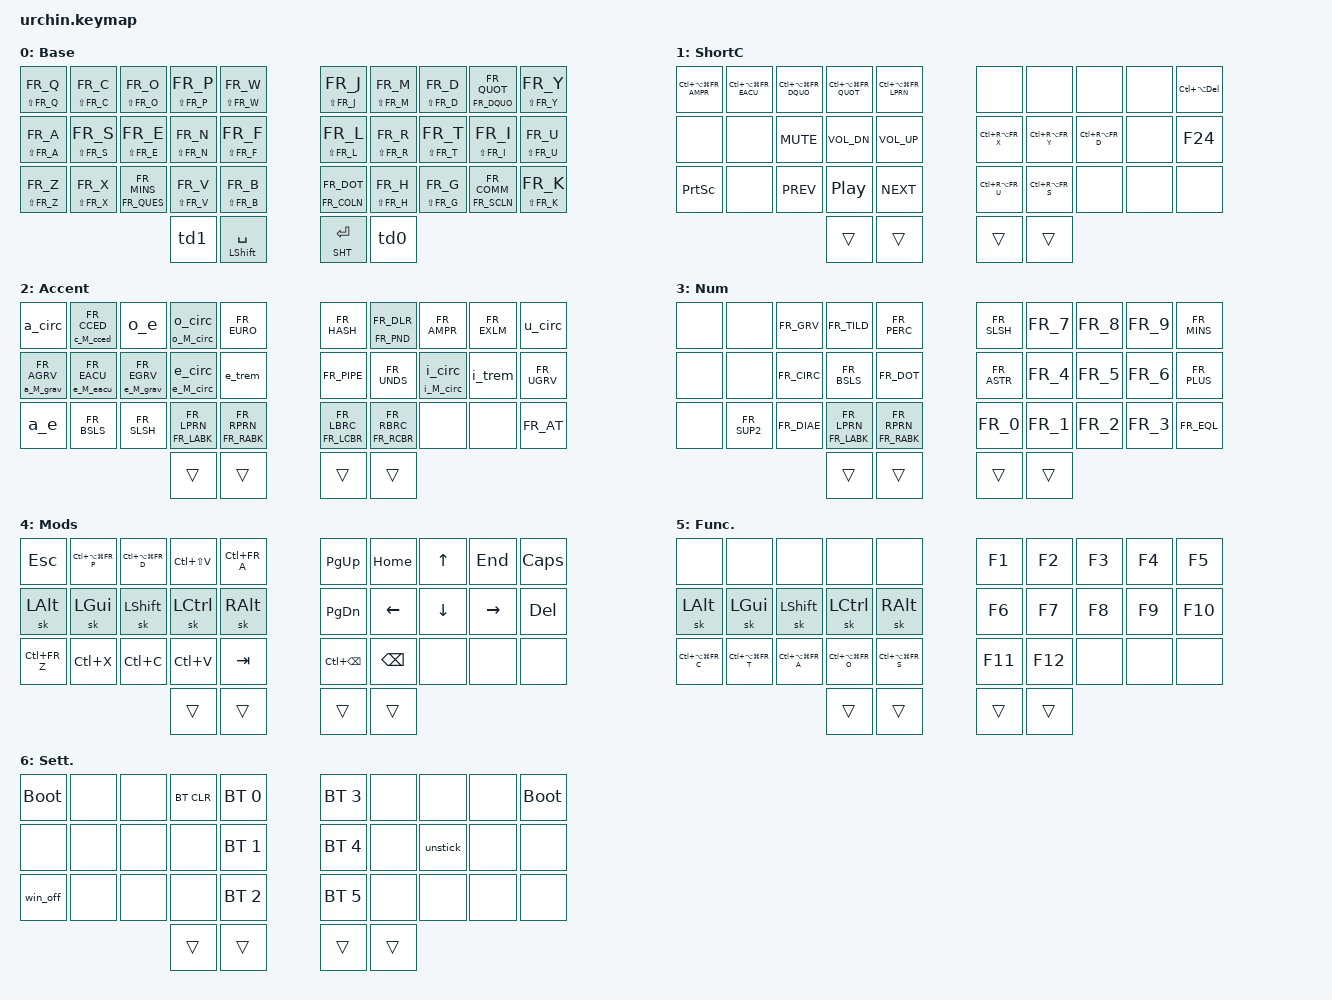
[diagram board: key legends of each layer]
/*
 * Copyright (c) 2020 duckyb
 *
 * SPDX-License-Identifier: MIT
 */

#include <behaviors.dtsi>
#include <dt-bindings/zmk/keys.h>
#include <dt-bindings/zmk/bt.h>
#include <dt-bindings/zmk/outputs.h>
#include "keymap_french.h"


// Layer definitions
#define BASE 0
#define SHT 1
#define ACCENT 2
#define NUM 3
#define EXT 4
#define FNC 5
#define SETTINGS 6
// -----------------

	
&sk {
	// don't release mods on other mods presses
	ignore-modifiers;
};


/ {
	behaviors {

		// Enables switching between layers Accent and Numbers
		// by performing a tap-dance sequence.
		td0: tap_dance_0 {
            compatible = "zmk,behavior-tap-dance";
            #binding-cells = <0>;
            tapping-term-ms = <350>;
            bindings = <&sl ACCENT>, <&sl NUM>;
        };

		// Enables switching between layers EXT and Function
		// by performing a tap-dance sequence.
		td1: tap_dance_1 {
            compatible = "zmk,behavior-tap-dance";
            #binding-cells = <0>;
            tapping-term-ms = <500>;
            bindings = <&sl EXT>, <&sl FNC>;
        };


		// Enables holding the first mod-tap key
		// by performing a tap-release-hold sequence.
		// To use it: "&qt KEYCODE1 KEYCODE2"
		qt: quick_tap {
			compatible = "zmk,behavior-hold-tap";
			#binding-cells = <2>;
			flavor = "tap-preferred";
			tapping-term-ms = <200>;
			quick-tap-ms = <200>;
			bindings = <&kp>, <&kp>;
		};


		// Majuscules accentuées

		// Hold tap on accents to Maj
		aMgrav: aMgrav { 
            compatible = "zmk,behavior-hold-tap"; 
            #binding-cells = <2>; 
            tapping-term-ms = <350>; 
            flavor = "tap-preferred"; 
            quick-tap-ms = <200>; 
            bindings = <&a_M_grav> , <&kp>;
        };
		iMcirc: iMcirc { 
            compatible = "zmk,behavior-hold-tap"; 
            #binding-cells = <2>; 
            tapping-term-ms = <350>; 
            flavor = "tap-preferred"; 
            quick-tap-ms = <200>; 
            bindings = <&i_M_circ> , <&i_circ>;
        };
		oMcirc: oMcirc { 
            compatible = "zmk,behavior-hold-tap"; 
            #binding-cells = <2>; 
            tapping-term-ms = <350>; 
            flavor = "tap-preferred"; 
            quick-tap-ms = <200>; 
            bindings = <&o_M_circ> , <&o_circ>;
        };
		eMcirc: eMcirc { 
            compatible = "zmk,behavior-hold-tap"; 
            #binding-cells = <2>; 
            tapping-term-ms = <350>; 
            flavor = "tap-preferred"; 
            quick-tap-ms = <200>; 
            bindings = <&e_M_circ> , <&e_circ>;
        };
		eMeacu: eMeacu { 
            compatible = "zmk,behavior-hold-tap"; 
            #binding-cells = <2>; 
            tapping-term-ms = <350>; 
            flavor = "tap-preferred"; 
            quick-tap-ms = <200>; 
            bindings =<&e_M_eacu> , <&kp>;
        };
		eMgrav: eMgrav { 
            compatible = "zmk,behavior-hold-tap"; 
            #binding-cells = <2>; 
            tapping-term-ms = <350>; 
            flavor = "tap-preferred"; 
            quick-tap-ms = <200>; 
            bindings = <&e_M_grav> , <&kp>;
        };
		cMcced: cMcced { 
            compatible = "zmk,behavior-hold-tap"; 
            #binding-cells = <2>; 
            tapping-term-ms = <350>; 
            flavor = "tap-preferred"; 
            quick-tap-ms = <200>; 
            bindings = <&c_M_cced> , <&kp>;
        };
	};

	macros {
		// Turn off Windows
		win_off: win_off {
            compatible = "zmk,behavior-macro";
            #binding-cells = <0>;
            wait-ms = <40>;
            tap-ms = <40>;
            bindings
                = <&macro_press   &kp LWIN>
                , <&macro_tap     &kp FR_X>
                , <&macro_release &kp LWIN>
                , <&macro_tap     &kp FR_U &kp FR_U>
                ;
        };
		// sometimes my device thinks a modifier is being held down
		// pressing all modifiers fixes it.
		unstick: unstick {
			compatible = "zmk,behavior-macro";
			#binding-cells = <0>;
			bindings = <&kp LSHIFT &kp RSHIFT &kp LCTRL &kp RCTRL &kp LALT &kp RALT &kp LGUI &kp RGUI>;
		};

		// Accents macro


		
		a_circ: a_circ {
			compatible = "zmk,behavior-macro";
			#binding-cells = <0>;
			wait-ms = <40>;
			tap-ms = <40>;
			bindings
    		= <&macro_tap     &kp FR_CIRC &kp FR_A>
    		;
		};
		e_circ: e_circ {
			compatible = "zmk,behavior-macro";
			#binding-cells = <0>;
			wait-ms = <40>;
			tap-ms = <40>;
			bindings
    		= <&macro_tap     &kp FR_CIRC &kp FR_E>
    		;																	
		};
		e_M_circ: e_M_circ {
			compatible = "zmk,behavior-macro";
			#binding-cells = <0>;
			wait-ms = <40>;
			tap-ms = <40>;
			bindings
    		= <&macro_tap     &kp FR_CIRC &kp LS(FR_E)>
    		;																	
		};
		e_M_grav: e_M_grav {
			compatible = "zmk,behavior-macro";
			#binding-cells = <0>;
			wait-ms = <40>;
			tap-ms = <40>;
			bindings
    		= <&macro_tap     &kp FR_GRV &kp LS(FR_E)>
    		;
		};
		e_trem: e_trem {
			compatible = "zmk,behavior-macro";
			#binding-cells = <0>;
			wait-ms = <40>;
			tap-ms = <40>;
			bindings
    		= <&macro_tap     &kp FR_DIAE &kp FR_E>
    		;
		};
		u_circ: u_circ {
			compatible = "zmk,behavior-macro";
			#binding-cells = <0>;
			wait-ms = <40>;
			tap-ms = <40>;
			bindings
    		= <&macro_tap     &kp FR_CIRC &kp FR_U>
    		;
		};
		i_circ: i_circ {
			compatible = "zmk,behavior-macro";
			#binding-cells = <0>;
			wait-ms = <40>;
			tap-ms = <40>;
			bindings
    		= <&macro_tap     &kp FR_CIRC &kp FR_I>
    		;
		};
		i_M_circ: i_M_circ {
			compatible = "zmk,behavior-macro";
			#binding-cells = <0>;
			wait-ms = <40>;
			tap-ms = <40>;
			bindings
    		= <&macro_tap     &kp FR_CIRC &kp LS(FR_I)>
    		;
		};
		i_trem: i_trem {
			compatible = "zmk,behavior-macro";
			#binding-cells = <0>;
			wait-ms = <40>;
			tap-ms = <40>;
			bindings
    		= <&macro_tap     &kp FR_DIAE &kp FR_I>
    		;
		};
		o_circ: o_circ {
			compatible = "zmk,behavior-macro";
			#binding-cells = <0>;
			wait-ms = <40>;
			tap-ms = <40>;
			bindings
    		= <&macro_tap     &kp FR_CIRC &kp FR_O>
			;
		};
		o_M_circ: o_M_circ {
			compatible = "zmk,behavior-macro";
			#binding-cells = <0>;
			wait-ms = <40>;
			tap-ms = <40>;
			bindings
    		= <&macro_tap     &kp FR_CIRC &kp LS(FR_O)>
    		;
		};	
		a_M_grav: a_M_grav {
			compatible = "zmk,behavior-macro"; 
			#binding-cells = <0>;
			wait-ms = <40>;
			tap-ms = <40>;
			bindings
    		= <&macro_tap     &kp FR_GRV &kp LS(FR_A)>
    		;
		};



		// Only Windows, sorry



		a_e: a_e {
			compatible = "zmk,behavior-macro";
			#binding-cells = <0>;
			wait-ms = <40>;
			tap-ms = <40>;
			bindings
    		= <&macro_press   &kp LALT>
    		, <&macro_tap     &kp KP_N0 &kp KP_N2 &kp KP_N3 &kp KP_N0>
    		, <&macro_release &kp LALT>
    		;
		};
		o_e: o_e {
			compatible = "zmk,behavior-macro";
			#binding-cells = <0>;
			wait-ms = <40>;
			tap-ms = <40>;
			bindings
    		= <&macro_press   &kp LALT>
    		, <&macro_tap     &kp KP_N0 &kp KP_N1 &kp KP_N5 &kp KP_N6>
    		, <&macro_release &kp LALT>
    		;
		};
		c_M_cced: c_M_cced {
			compatible = "zmk,behavior-macro"; 
			#binding-cells = <0>;
			wait-ms = <40>;
			tap-ms = <40>;
			bindings
    		= <&macro_press   &kp LALT>
    		, <&macro_tap     &kp KP_N0 &kp KP_N1 &kp KP_N9 &kp KP_N9>
    		, <&macro_release &kp LALT>
    		;
		};
		e_M_eacu: e_M_eacu {
			compatible = "zmk,behavior-macro"; 
			#binding-cells = <0>;
			wait-ms = <40>;
			tap-ms = <40>;
			bindings
    		= <&macro_press   &kp LALT>
    		, <&macro_tap     &kp KP_N0 &kp KP_N2 &kp KP_N0 &kp KP_N1>
    		, <&macro_release &kp LALT>
    		;
		};
	};

	combos {
		compatible = "zmk,combos";
		// both left thumb keys
		combo_settings {
			timeout-ms = <200>;
			key-positions = <30 31>;
			bindings = <&mo SETTINGS>;
		};
		// left index & middle fingers (home-row)
		// hold space for Figma...
		combo_ctrl_space {
			timeout-ms = <200>;
			key-positions = <12 13>;
			bindings = <&kp SPACE>;
			layers = <BASE>;
		};
	};

	keymap {
		compatible = "zmk,keymap";
		// Base alpha layer
		default_layer {
			display-name = "Base";
			bindings = <
			&qt LS(FR_Q) FR_Q &qt LS(FR_C) FR_C &qt LS(FR_O) FR_O 	&qt LS(FR_P) FR_P &qt LS(FR_W) FR_W         &qt LS(FR_J) FR_J  &qt LS(FR_M) FR_M  &qt LS(FR_D) FR_D     &qt FR_DQUO FR_QUOT   	&qt LS(FR_Y) FR_Y 
			&qt LS(FR_A) FR_A &qt LS(FR_S) FR_S &qt LS(FR_E) FR_E 	&qt LS(FR_N) FR_N &qt LS(FR_F) FR_F         &qt LS(FR_L) FR_L  &qt LS(FR_R) FR_R  &qt LS(FR_T) FR_T     &qt LS(FR_I) FR_I   	&qt LS(FR_U) FR_U
			&qt LS(FR_Z) FR_Z &qt LS(FR_X) FR_X &qt FR_QUES FR_MINS &qt LS(FR_V) FR_V &qt LS(FR_B) FR_B         &qt FR_COLN FR_DOT &qt LS(FR_H) FR_H  &qt LS(FR_G) FR_G  	&qt FR_SCLN FR_COMM    	&qt LS(FR_K) FR_K
							           											&td1  &qt LSHIFT SPACE   		&lt SHT ENTER &td0
			>;
		};
		// Used for system short cuts
		sht_layer {
			display-name = "ShortC";
			bindings = <
			&kp LC(LA(LG(FR_AMPR))) &kp LC(LA(LG(FR_EACU))) &kp LC(LA(LG(FR_DQUO))) &kp LC(LA(LG(FR_QUOT))) &kp LC(LA(LG(FR_LPRN)))     &none 			 &none 			  &none 			&none 				&kp LC(LA(DEL))
			&none					&none 					&kp C_MUTE 				&kp C_VOL_DN 			&kp C_VOL_UP    			&kp LC(RA(FR_X)) &kp LC(RA(FR_Y)) &kp LC(RA(FR_D)) 	&none				&kp F24
			&kp PRINTSCREEN 		&none 					&kp C_PREV 				&kp C_PP  				&kp C_NEXT					&kp LC(RA(FR_U)) &kp LC(RA(FR_S)) &none				&none				&none
																											&trans  &trans 				&trans &trans 
			>;
		};
		// Used to type french accents and high frequency symbols
		accent_layer {
			display-name = "Accent";
			bindings = <
			&a_circ 			&cMcced 0 FR_CCED 	&o_e 				&oMcirc 0 0  			&kp FR_EURO         		&kp FR_HASH  		&qt FR_PND FR_DLR 	&kp FR_AMPR 	&kp FR_EXLM 	&u_circ 
			&aMgrav 0 FR_AGRV  	&eMeacu 0 FR_EACU 	&eMgrav 0 FR_EGRV 	&eMcirc 0 0 			&e_trem 		  			&kp FR_PIPE  		&kp FR_UNDS 		&iMcirc 0 0 	&i_trem 	 	&kp FR_UGRV
			&a_e 				&kp FR_BSLS   		&kp FR_SLSH 		&qt FR_LABK FR_LPRN 	&qt FR_RABK FR_RPRN         &qt FR_LCBR FR_LBRC &qt FR_RCBR FR_RBRC &none  			&none  			&kp FR_AT
																								&trans  &trans   			&trans &trans 
			>;
		};
		// Numbers and high frequency symbols
		num_layer {
			display-name = "Num";
			bindings = <
			&none &none  		&kp FR_GRV 		&kp FR_TILD				&kp FR_PERC					&kp FR_SLSH &kp FR_7 &kp FR_8 &kp FR_9	&kp FR_MINS
			&none &none  		&kp FR_CIRC  	&kp FR_BSLS 			&kp FR_DOT        			&kp FR_ASTR &kp FR_4 &kp FR_5 &kp FR_6 	&kp FR_PLUS
			&none &kp FR_SUP2  	&kp FR_DIAE 	&qt FR_LABK FR_LPRN 	&qt FR_RABK FR_RPRN	 		&kp FR_0 	&kp FR_1 &kp FR_2 &kp FR_3 	&kp FR_EQL
																		&trans  &trans   			&trans &trans
			>;
		};

		// Main modifiers and arrow keys
		ext_layer {
			display-name = "Mods";
			bindings = <
			&kp ESC			&kp LC(LA(LG(FR_P)))	&kp LC(LA(LG(FR_D)))	&kp LC(LS(V))	&kp LC(FR_A)		&kp PG_UP		&kp HOME	&kp UP		&kp END		&kp CAPS
			&sk LALT		&sk LGUI				&sk LSHIFT				&sk LCTRL		&sk RALT			&kp PG_DN		&kp LEFT	&kp DOWN	&kp RIGHT	&kp DEL
			&kp LC(FR_Z)	&kp LC(X)				&kp LC(C)				&kp LC(V)		&kp TAB				&kp LC(BSPC)	&kp BSPC	&none		&none		&none
													&trans &trans				&trans  &trans
			>;
		};

		// Function keys with modifiers
		fnc_layer {
			display-name = "Func.";
			bindings = <
			&none					&none					&none					&none					&none						&kp F1	&kp F2	&kp F3	&kp F4	&kp F5
			&sk LALT				&sk LGUI				&sk LSHIFT				&sk LCTRL				&sk RALT					&kp F6	&kp F7	&kp F8	&kp F9	&kp F10
			&kp LC(LA(LG(FR_C)))	&kp LC(LA(LG(FR_T)))	&kp LC(LA(LG(FR_A)))	&kp LC(LA(LG(FR_O)))	&kp LC(LA(LG(FR_S)))		&kp F11	&kp F12	&none	&none	&none
							  							&trans &trans 		&trans &trans  
			>;
		};

		// Used to change the keyboard's settings.
		settings_layer {
				display-name = "Sett.";
				bindings = <
				&bootloader 	&none &none &bt BT_CLR &bt BT_SEL 0               &bt BT_SEL 3 &none &none 	  &none &bootloader
				&none 			&none &none &none      &bt BT_SEL 1 			  &bt BT_SEL 4 &none &unstick &none &none
				&win_off		&none &none &none      &bt BT_SEL 2               &bt BT_SEL 5 &none &none 	  &none &none
														&trans &trans   		  &trans &trans 
				>;
		};
	};
};
/*
NOT USED
 
 #define TAPHOLD_SYMBOL(NAME, TAP, HOLD) \
         NAME: NAME { \
            compatible = "zmk,behavior-hold-tap"; \
            label = ZMK_MACRO_STRINGIFY(NAME); \
            #binding-cells = <2>; \
            tapping-term-ms = <350>; \
            flavor = "tap-preferred"; \
            quick-tap-ms = <200>; \
            bindings = <HOLD>, <TAP>; \
        };

	symbols {
        TAPHOLD_SYMBOL(aMgrav,&kp FR_AGRV,&a_M_grav )
        
        };

a_trem: a_trem {
			compatible = "zmk,behavior-macro";
			#binding-cells = <0>;
			wait-ms = <40>;
			tap-ms = <40>;
			bindings
    		= <&macro_press   &kp LALT>
    		, <&macro_tap     &kp KP_N0 &kp KP_N2 &kp KP_N2 &kp KP_N8>
    		, <&macro_release &kp LALT>
    		;
		};
o_trem: o_trem {
			compatible = "zmk,behavior-macro";
			#binding-cells = <0>;
			wait-ms = <40>;
			tap-ms = <40>;
			bindings
    		= <&macro_press   &kp LALT>
    		, <&macro_tap     &kp KP_N0 &kp KP_N2 &kp KP_N4 &kp KP_N6>
    		, <&macro_release &kp LALT>
    		;
		};
u_trem: u_trem {
			compatible = "zmk,behavior-macro";
			#binding-cells = <0>;
			wait-ms = <40>;
			tap-ms = <40>;
			bindings
    		= <&macro_press   &kp LALT>
    		, <&macro_tap     &kp KP_N0 &kp KP_N2 &kp KP_N5 &kp KP_N2>
    		, <&macro_release &kp LALT>
    		;
		};
		i_M_circ: i_M_circ {
			compatible = "zmk,behavior-macro"; 
			#binding-cells = <0>;
			wait-ms = <40>;
			tap-ms = <40>;
			bindings
    		= <&macro_tap     &kp FR_CIRC>
			, <&macro_press   &kp LS>
    		, <&macro_tap     &kp FR_I>
    		, <&macro_release &kp LS>
    		;
		};
		o_M_circ: o_M_circ {
			compatible = "zmk,behavior-macro"; 
			#binding-cells = <0>;
			wait-ms = <40>;
			tap-ms = <40>;
			bindings
    		= <&macro_press   &kp LALT>
    		, <&macro_tap     &kp KP_N0 &kp KP_N2 &kp KP_N1 &kp KP_N2>
    		, <&macro_release &kp LALT>
    		;
		};
		e_M_circ: e_M_circ {
			compatible = "zmk,behavior-macro"; 
			#binding-cells = <0>;
			wait-ms = <40>;
			tap-ms = <40>;
			bindings
    		= <&macro_press   &kp LALT>
    		, <&macro_tap     &kp KP_N0 &kp KP_N2 &kp KP_N0 &kp KP_N2>
    		, <&macro_release &kp LALT>
    		;
		};
		e_M_grav: e_M_grav {
			compatible = "zmk,behavior-macro"; 
			#binding-cells = <0>;
			wait-ms = <40>;
			tap-ms = <40>;
			bindings
    		= <&macro_press   &kp LALT>
    		, <&macro_tap     &kp KP_N0 &kp KP_N2 &kp KP_N0 &kp KP_N0>
    		, <&macro_release &kp LALT>
    		;
		};
*/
